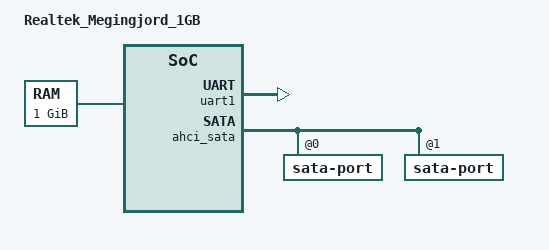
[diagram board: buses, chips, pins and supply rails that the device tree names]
/dts-v1/;
#include <dt-bindings/soc/rtd16xx,memory.h>

/* DRM protect region */
/* /memreserve/ 0x10200000 0x03A00000; */
/memreserve/ 0x0F900000 0x00307000;
/* /memreserve/ 0x0FC07000 0x001F9000; */
/* /memreserve/ 0x00000000 0x00001000; */
/* /memreserve/ 0x00002000 0x00001000; */
/* /memreserve/ 0x32b00000 0x12C00000; */

/memreserve/ SYS_BOOTCODE_MEMBASE SYS_BOOTCODE_MEMSIZE;
/memreserve/ RPC_COMM_PHYS RPC_COMM_SIZE;
/memreserve/ RPC_RINGBUF_PHYS RPC_RINGBUF_SIZE;
/memreserve/ ROOTFS_NORMAL_START ROOTFS_NORMAL_SIZE;
/memreserve/ ACPU_IDMEM_PHYS ACPU_IDMEM_SIZE;

#define MEDIA_REQ_SIZE_0 (0x0c700000) // 199M
#define ION_MEDIA_HEAP_PHYS_0 (MEM_SLOT_PHYS_0)
#define ION_MEDIA_HEAP_SIZE_0 (MEDIA_REQ_SIZE_0)
#define ION_MEDIA_HEAP_FLAG_0 (MEM_SLOT_FLAG_0)

#define AUDIO_REQ_SIZE_0 (0x00c00000) // 12M
#define ION_AUDIO_HEAP_PHYS_0 (MEM_SLOT_PHYS_1)
#define ION_AUDIO_HEAP_SIZE_0 (AUDIO_REQ_SIZE_0)
#define ION_AUDIO_HEAP_FLAG_0 (MEM_SLOT_FLAG_1)

#define MEDIA_REQ_SIZE_1 (0x08300000) // 131M
#define ION_MEDIA_HEAP_PHYS_1 (MEM_SLOT_PHYS_2)
#define ION_MEDIA_HEAP_SIZE_1 (MEDIA_REQ_SIZE_1)
#define ION_MEDIA_HEAP_FLAG_1 (MEM_SLOT_FLAG_2)

/memreserve/ ION_MEDIA_HEAP_PHYS_0  ION_MEDIA_HEAP_SIZE_0;
/memreserve/ ION_AUDIO_HEAP_PHYS_0  ION_AUDIO_HEAP_SIZE_0;
/memreserve/ ION_MEDIA_HEAP_PHYS_1  ION_MEDIA_HEAP_SIZE_1;

#define SECURE_AUDIO_REQ_SIZE   (0x00200000) // 2M
#define ION_SECURE_AUDIO_REQ_PHYS_0  (0x32600000)
#define ION_SECURE_AUDIO_REQ_SIZE_0  (SECURE_AUDIO_REQ_SIZE)
#define ION_SECURE_AUDIO_REQ_FLAG_0  (RTK_FLAG_SECURE_AUDIO)
/memreserve/ ION_SECURE_AUDIO_REQ_PHYS_0 ION_SECURE_AUDIO_REQ_SIZE_0;

#include "rtd-16xx.dtsi"
#include "rtd-1619-usb.dtsi"
#include "rtd-1619-sata.dtsi"

/ {
	model= "Realtek_Megingjord_1GB";
	model_hex= <0x00000653>;

	/*
	 * NOTE:
	 * <flag size base>
	 * flag: reserved
	 * size: unit is byte
	 * base: unit is byte
	 *
	 * Array size not over 8;
	 * You may change the max array size in KConfig,
	 * max CMA array size is CONFIG_CMA_AREAS+1.
	 *
	 * If cma-region-enable is enabled<1>,
	 * kernel driver will use cma-region-info to initial CMA memory.
	 *
	 * If cma-region-enable is disabled<0>,
	 * kernel driver will use cma= to initial CMA memory.
	 *
	 * if both setting is loaded, cma-region-info had higher priority.
	 */

	chosen {
		bootargs = "earlycon=uart8250,mmio32,0x98007800 console=ttyS0,115200";
		swiotlb-memory-reservation-size = <512>; /*  512: 1MB,  2048: 4MB*/
		swiotlb-force = <0>; /* 0: SWIOTLB_NORMAL, 1: SWIOTLB_FORCE, 2: SWIOTLB_NO_FORCE */
		cma-region-enable = <1>;
		cma-region-info = <0x00000000 0x02000000 0x14200000>;
		/*cma-region-info = <0x00000000 0x01000000 0x12c00000>, <0x00000000 0x12c00000 0x20000000>;*/
		linux,initrd-start = <ROOTFS_NORMAL_START>;
		linux,initrd-end = <ROOTFS_NORMAL_END>;
	};

	arm_psci {
		compatible = "arm,psci-0.2";
		method = "smc";
	};

	memory@0 {
		device_type = "memory";
		reg = <0x0 0x0 0x0 0x40000000>; /* 1024 MB */
	};

	firmware {
		android {
			compatible = "android,firmware";
			fstab {
				compatible = "android,fstab";
				system {
					compatible = "android,system";
					dev = "/dev/block/platform/98012000.emmc/by-name/system";
					type = "ext4";
					mnt_flags = "ro,noatime";
					fsmgr_flags = "wait";
				};
				vendor {
					compatible = "android,vendor";
					dev = "/dev/block/platform/98012000.emmc/by-name/vendor";
					type = "ext4";
					mnt_flags = "ro,noatime";
					fsmgr_flags = "wait";
				};
			};
		};
		optee {
			compatible = "linaro,optee-tz";
			method = "smc";
		};
	};

	reserved-memory {
		#address-cells = <2>;
		#size-cells = <2>;
		ranges;

		rbus@0 {
			compatible = "rsvmem-remap";
			save_remap_name = "rbus";
			reg = <0x0 RBUS_BASE_PHYS 0x0 RBUS_BASE_SIZE>;
			rtk_rbus_barrier_flag;
		};

		common@0 {
			compatible = "rsvmem-remap";
			save_remap_name = "common";
			reg = <0x0 RPC_COMM_PHYS 0x0 RPC_COMM_SIZE>;
		};

		ringbuf@0 {
			compatible = "rsvmem-remap";
			save_remap_name = "ringbuf";
			reg = <0x0 RPC_RINGBUF_PHYS 0x0 RPC_RINGBUF_SIZE>;
		};
	};

	rtk_avcpu {
		compatible = "Realtek,rtk-avcpu";
		#address-cells = <1>;
		#size-cells = <1>;

		crt@0 {
			reg = <0x98000000 0x200000>;
		};

		rpc@0 {
			reg = <RPC_COMM_PHYS RPC_COMM_SIZE>;
		};

		avlog {
			sync_lock = <&sb2_lock_avlog>;
			sync_lock_timeout = <500>; /* ms */
			log_check_period = <500>; /* ms */
		};
	};

	rtk,ion {
		compatible = "Realtek,rtk-ion";
		#address-cells = <1>;
		#size-cells = <0>;

		rtk,ion-heap@0 { /* SYSTEM_HEAP */
			compatible = "Realtek,rtk-ion-reserve";
			reg = <0>;
			rtk,memory-reservation-size = <0x0>;
		};

		rtk,ion-heap@1 { /* System contig */
			compatible = "Realtek,rtk-ion-reserve";
			reg = <1>;
			rtk,memory-reservation-size = <0x0>;
		};

		rtk,ion-heap@4 { /* DMA_HEAP */
			compatible = "Realtek,rtk-ion-reserve";
			reg = <4>;
			rtk,memory-reservation-size = <0x0>;
		};

		rtk,ion-heap@8 { /* Audio */
			compatible = "Realtek,rtk-ion-reserve";
			reg = <8>;
			rtk,memory-reserve = <
				ION_AUDIO_HEAP_PHYS_0
				ION_AUDIO_HEAP_SIZE_0
				ION_AUDIO_HEAP_FLAG_0>;
		};

		rtk,ion-heap@7 { /* TYPE_MEDIA */
			compatible = "Realtek,rtk-ion-reserve";
			reg = <7>;
			rtk,memory-reserve = <
				ION_MEDIA_HEAP_PHYS_0
				ION_MEDIA_HEAP_SIZE_0
				ION_MEDIA_HEAP_FLAG_0
				ION_MEDIA_HEAP_PHYS_1
				ION_MEDIA_HEAP_SIZE_1
				ION_MEDIA_HEAP_FLAG_1>;
		};
	};

	rtk-fb {
		compatible = "Realtek,rtk-fb";
		buffer-cnt = <3>;
		resolution = <1920 1080>;
		fps = <60>;
	};

	dwc3_drd: rtk_dwc3_drd@98013200 {
		dwc3_drd@98020000 {
			dr_mode = "host"; /*host, peripheral*/
		};
		rtk_dwc3_drd_type_c@0 {
			status = "disabled";
		};
	};

	sdio: sdio@98010A00 {
		status = "disabled";
	};

	hdmirx@98034000 {
		status = "disabled";
	};

	smartcard@9801BE00 {
		status = "disabled";
	};

	spdif {
		status = "disabled";
	};

	rfkill: rfkilligpio {
		status = "disabled";
	};

	uart1: serial1@9801B200 {
		status = "okay";
	};

	uart2: serial2@9801B400 {
		status = "disabled";
	};

	hse@98005000 {
		status = "disabled";
	};

	rtk_iso_gpio: rtk_iso_gpio@98007100 {
		gpios =
			<&rtk_iso_gpio 3 1 0>,	// HDD green LED 1
			<&rtk_iso_gpio 4 1 0>,	// HDD green LED 2
			<&rtk_iso_gpio 10 1 0>,	// status red LED (Reserve)
			<&rtk_iso_gpio 11 1 0>,	// status green LED (Reserve)
			<&rtk_iso_gpio 18 1 0>,	// HDD orange LED 1
			<&rtk_iso_gpio 19 1 0>,	// HDD orange LED 2
			<&rtk_iso_gpio 22 1 1>,	// front panel LED control
			<&rtk_iso_gpio 23 1 0>,	// power LED (Reserve)
			<&rtk_iso_gpio 24 0 0>,	// reset button (Reserve)
			<&rtk_iso_gpio 30 0 0>,	// USB button (Reserve)
			<&rtk_iso_gpio 31 0 0>,	// fan sense 1 (Reserve)
			<&rtk_iso_gpio 34 1 0>,	// HDD LED control
			<&rtk_iso_gpio 35 1 0>,	// LAN LED control
			<&rtk_iso_gpio 41 0 0>,	// HDD detect 1
			<&rtk_iso_gpio 42 0 0>,	// HDD detect 2
			<&rtk_iso_gpio 43 0 0>,	// HDD detect 3 (Reserve)
			<&rtk_iso_gpio 44 0 0>,	// HDD detect 4 (Reserve)
			<&rtk_iso_gpio 47 0 0>,	// fan sense 1 cpu (Reserve)
			<&rtk_iso_gpio 48 0 0>,	// not in use (boot strapping before uboot)
			<&rtk_iso_gpio 49 0 0>,	// not in use (boot strapping before uboot)
			<&rtk_iso_gpio 50 0 0>,	// fan sense 2
			<&rtk_iso_gpio 57 1 0>,	// fan control full
			<&rtk_iso_gpio 58 1 0>,	// USB copy LED (Reserve)
			<&rtk_iso_gpio 59 1 0>,	// fan control high
			<&rtk_iso_gpio 60 1 1>,	// fan control middle
			<&rtk_iso_gpio 61 1 1>,	// fan control low
			<&rtk_iso_gpio 62 1 0>,	// HDD power 2
			<&rtk_iso_gpio 63 1 0>,	// HDD power 3 (Reserve)
			<&rtk_iso_gpio 64 1 0>,	// HDD power 4 (Reserve)
			<&rtk_iso_gpio 67 1 0>,	// HDD power 1
			<&rtk_iso_gpio 68 1 1>,	// fan control voltage
			<&rtk_iso_gpio 70 1 0>,	// USB3 power 1
			<&rtk_iso_gpio 71 0 0>,	// USB3 OC 1
			<&rtk_iso_gpio 72 1 0>,	// USB3 power 2
			<&rtk_iso_gpio 73 0 0>,	// USB3 OC 2
			<&rtk_iso_gpio 74 1 0>,	// USB2 power
			<&rtk_iso_gpio 75 0 0>,	// USB2 OC
			<&rtk_iso_gpio 76 0 0>,	// HDD OC 1 (Reserve)
			<&rtk_iso_gpio 77 0 0>,	// HDD OC 2 (Reserve)
			<&rtk_iso_gpio 78 0 0>,	// HDD OC 3 (Reserve)
			<&rtk_iso_gpio 79 0 0>;	// HDD OC 4 (Reserve)
		wakeup-gpio-list = <&rtk_iso_gpio 2 0 0>;
		wakeup-gpio-enable = <1>;
		wakeup-gpio-activity = <1>;
	};

	dptx@9803D000 {
		compatible = "Realtek,rtk-dptx";
		reg = <0x0 0x9803D000 0x0 0x1000>,
			<0x0 0x98000000 0x0 0x1000>,
			<0x0 0x98009400 0x0 0x600>,
			<0x0 0x98080000 0x0 0x2000>;
		interrupts = <0 29 4>; /*gen Ri*/
		clocks = <&clk_en_4 CLK_EN_EDP>,
			<&clk_en_4 CLK_EN_TSIO_TRX>,
			<&clk_en_1 CLK_EN_TVE>,
			<&clk_en_1 CLK_EN_VO>;
		clock-names = "clk_en_edp",
			"clk_en_tsio_trx",
			"clk_en_tve",
			"clk_en_vo";
		resets = <&iso_rst RSTN_DP>,
			<&rst7 RSTN_EDP>,
			<&rst3 RSTN_TVE>,
			<&rst3 RSTN_VO>;
		reset-names = "dp",
			"edp",
			"tve",
			"vo";
		dp_hpd {
			gpios = <&rtk_iso_gpio 78 0 0>; /*HPD, input, default N/A */
		};
	};

	i2c_3: i2c@0x9801B900 {
		status = "disabled";
	};

	i2c_4: i2c@0x9801BA00 {
		status = "disabled";
	};

	efuse@98017000 {
		status = "disabled";
	};

	pwm: pwm@980070D0 {
		status = "disabled";
	};

	hdmitx@9800D000 {
		status = "disabled";
	};

	hdcptx@9800D000 {
		status = "disabled";
	};

	sd: sdmmc@98010400 {
		status = "disabled";
	};

	emmc: emmc@98012000 {
		status = "disabled";
	};

	rng@98001000 {
		status = "disabled";
	};

	irda@98007400 {
		status = "disabled";
	};

	rtc@9801B600 {
		status = "disabled";
	};

	cec0@98037800 {
		status = "disabled";
	};

	demod@9801E000 {
		status = "disabled";
	};

	pcie: pcie@98060000 {
		status = "disabled";
	};

	pcie2: pcie2@980A0000 {
		status = "disabled";
	};

	dwc3_u2host: rtk_dwc3_u2host@98013C00 {
		status = "disabled";
	};

	nic: gmac@98016000 {
		/delete-property/ local-mac-address;
		/delete-property/ wake-mask0;
		/delete-property/ wake-crc0;
		/delete-property/ wake-mask1;
		/delete-property/ wake-crc1;
		/delete-property/ wake-mask2;
		/delete-property/ wake-crc2;
		/delete-property/ wake-mask3;
		/delete-property/ wake-crc3;
		/delete-property/ wake-mask4;
		/delete-property/ wake-crc4;
		/delete-property/ wake-mask5;
		/delete-property/ wake-crc5;
		eee = <0>; /* 0: disable, 1: enable */
		led-cfg = <0x4f00>;
	};

	sata_phy: sata_phy@9803FF60 {
		sata-phy@0 {
			tx-driving-tbl = // user can define tx driving here //
					<0x40aa2011>, <0x40aa6011>, <0x40a8a011>,
					<0x88aa2111>, <0x88aa6111>, <0x88aaa111>;
		};
		sata-phy@1 {
			tx-driving-tbl = // user can define tx driving here //
					<0x40aa2011>, <0x40aa6011>, <0x40a6a011>,
					<0x88aa2111>, <0x88aa6111>, <0x485aa111>;
		};
	};
	ahci_sata: sata@9803F000 {
		hostinit-mode = <1>;
		sata-port@0 {
			/delete-property/ gpios;
		};
		sata-port@1 {
			/delete-property/ gpios;
		};
	};

	rtk_usb_power_manager@0 {
		/delete-property/ realtek,port0-power-gpio;
		/delete-property/ realtek,port1-power-gpio;
		/delete-property/ realtek,port2-power-gpio;
	};
	dwc3_drd_usb3phy: dwc3_drd_usb3phy@0 {
		phy0 {
			phy_data_revA = /bits/ 16
				<0x400C 0xAC43 0x6042 0x2771 0x52F5 0x2AD3 0x0006
				 0x2E00 0x3591 0x565C 0x8608 0xAB05 0xC000 0xF70A
				 0x2000 0x8D50 0x000C 0x4C10 0xFC00 0x0C81 0xDE01
				 0x0000 0x0000 0x0000 0x0000 0x6020 0x0085 0x2014
				 0xC900 0xA03F 0xC2E0 0xA000 0x402A 0x88AA 0x0053
				 0xBB66 0x00E0 0x1260 0x840B 0x01D6 0xF842 0xff00
				 0x3040 0x8028 0xFFFF 0xFFFF 0x0000 0x8635>;
		};
	};
	dwc3_u3host_usb3phy: dwc3_u3host_usb3phy@0 {
		phy0 {
			phy_data_revA = /bits/ 16
				<0x400C 0xAC43 0x6042 0x2771 0x52F5 0x2AD3 0x0006
				 0x2E00 0x3591 0x565C 0x8608 0xAB05 0xC000 0xF70A
				 0x2000 0x8D50 0x000C 0x4C10 0xFC00 0x0C81 0xDE01
				 0x0000 0x0000 0x0000 0x0000 0x6020 0x0085 0x2014
				 0xC900 0xA03F 0xC2E0 0xA000 0x402A 0x88AA 0x0053
				 0xBB66 0x00E0 0x1260 0x840B 0x01D6 0xF842 0xff00
				 0x3040 0x8028 0xFFFF 0xFFFF 0x0000 0x8635>;
		};
	};
	dwc3_drd_usb2phy: dwc3_drd_usb2phy@0 {
		phy0 {
			phy_data_page0_data = /bits/ 8
				<0xE0 0x30 0x79 0x8D 0x6C 0x65 0x01 0xF1 0xFC 0x8C
				0x00 0x11 0x9B 0x00 0x00 0x02>;
		};
	};
	dwc3_u3host_usb2phy: dwc3_u3host_usb2phy@0 {
		phy0 {
			phy_data_page0_data = /bits/ 8
				<0xE0 0x30 0x79 0x8D 0x6C 0x65 0x01 0xF1 0xFC 0x8C
				0x00 0x11 0x9B 0x00 0x00 0x02>;
		};
	};
};
